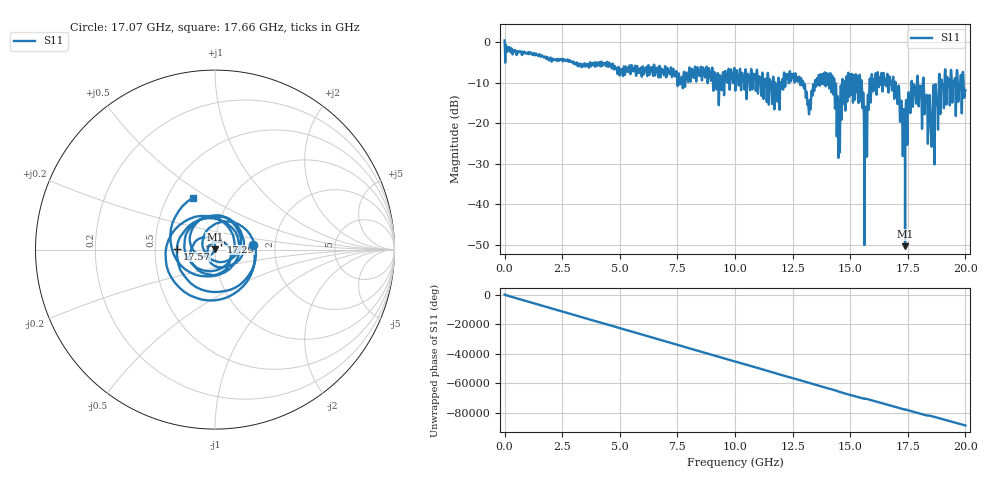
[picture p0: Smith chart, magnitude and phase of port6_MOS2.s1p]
! MS46122B
! 2250307/22442219
! 7/27/2025 9:21:27 AM
! C:\USERS\SPARKY\DOCUMENTS\VNA_DATA\JULY27_2025\3K\PORT6_MOS2.S1P
! CHANNEL.1
! TR.MEASUREMENT
! RAW.DATA
# GHZ S RI R 50.0
! FREQ.GHZ  S11RE  S11IM
!; PortSelection: Port_1
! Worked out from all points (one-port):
!   10001 points, 1 MHz to 20 GHz, reference 50 ohm
!   lowest |S11| = -50.4 dB at 17.38 GHz (marker M1), VSWR 1.01, Z = 49.8 + j0.241 ohm
!   |S11| at or under -10 dB: 12.96 GHz to 13.46 GHz (500.4 MHz wide, 3.79 % of centre); 16.97 GHz to 17.66 GHz (682.7 MHz wide, 3.94 % of centre); 18.19 GHz to 18.85 GHz (657.1 MHz wide, 3.55 % of centre) (the widest 3 of 88)
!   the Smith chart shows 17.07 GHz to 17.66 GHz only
!   S11 on the Smith chart (normalised r, x): 17.07 GHz: 1.53, +0.08; 17.29 GHz: 1.07, +0.10; 17.57 GHz: 0.65, +0.01; 17.66 GHz: 0.67, +0.43
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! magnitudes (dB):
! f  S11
! 1 MHz  0.4
! 2.501 GHz  -4.3
! 5.001 GHz  -7.7
! 7.501 GHz  -10.3
! 10 GHz  -9.1
! 11.78 GHz  -12.8
! 12.5 GHz  -8.9
! 12.95 GHz  -9.6
! 13.22 GHz  -17.7
! 13.56 GHz  -8.9
! 14.06 GHz  -7.9
! 14.3 GHz  -9.0
! 14.49 GHz  -26.9
! 15 GHz  -7.9
! 15.48 GHz  -9.7
! 15.67 GHz  -16.4
! 16.02 GHz  -9.1
! 16.79 GHz  -10.4
! 17.07 GHz  -13.5
! 17.29 GHz  -25.0
! 17.38 GHz  -50.4
! 17.5 GHz  -16.2
! 17.57 GHz  -13.4
! 17.66 GHz  -10.1
! 18.24 GHz  -15.4
! 18.46 GHz  -15.5
! 19.19 GHz  -12.0
! 20 GHz  -11.9
